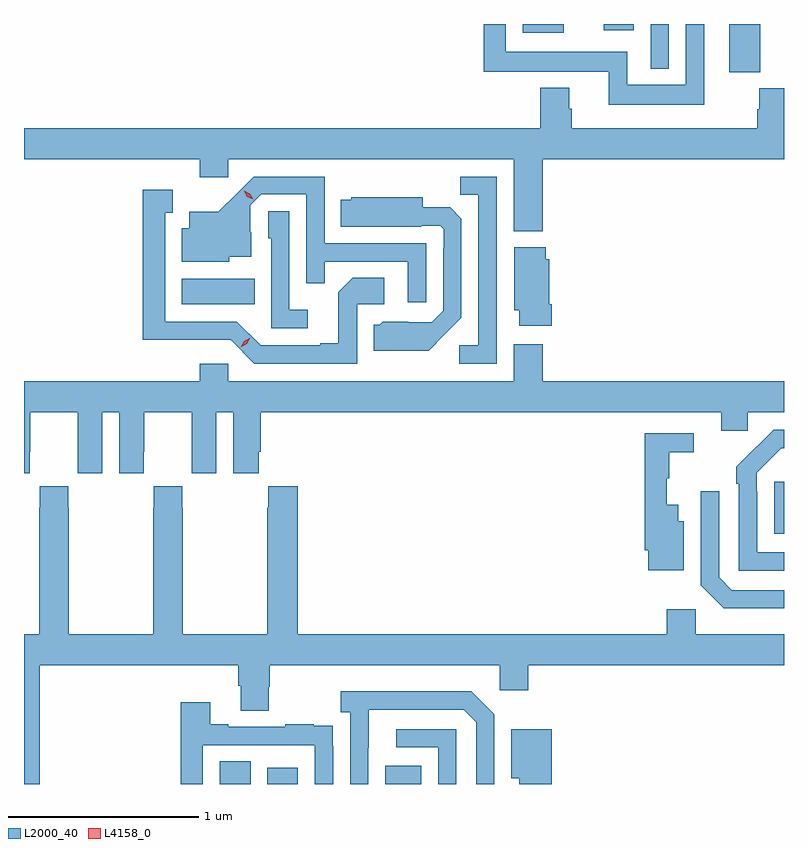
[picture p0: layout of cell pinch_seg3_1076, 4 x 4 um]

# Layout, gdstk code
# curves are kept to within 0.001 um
import gdstk
lib = gdstk.Library(unit=1e-6, precision=1e-09)
def R(c, l, rs):  # rectangles x0, y0, x1, y1
    for r in rs: c.add(gdstk.rectangle(r[:2], r[2:], *l))
def P(c, l, *ps):  # polygons
    for p in ps: c.add(gdstk.Polygon(p, *l))
L2000_40 = (2000, 40)
L4158_0 = (4158, 0)

pinch_seg3_1076 = lib.new_cell('pinch_seg3_1076')
R(pinch_seg3_1076, L2000_40, [(315.392,686.972,315.556,687.092), (315.644,686.972,315.805,687.058), (316.265,686.972,316.453,687.067), (318.311,688.289,318.363,688.564), (315.194,689.498,315.578,689.632), (318.074,690.718,318.238,690.972), (317.661,690.737,317.757,690.972), (316.988,690.926,317.203,690.972), (317.414,690.939,317.572,690.972)])
P(pinch_seg3_1076, L2000_40, [(317.944,690.972),(317.847,690.972),(317.847,690.652),(317.538,690.652),(317.538,690.826),(316.899,690.826),(316.899,690.972),(316.783,690.972),(316.783,690.72),(316.906,690.72),(316.906,690.722),(317.441,690.722),(317.441,690.548),(317.944,690.548)],
  [(317.093,690.26),(318.363,690.26),(318.363,690.633),(318.233,690.633),(318.233,690.524),(318.221,690.524),(318.221,690.424),(317.246,690.424),(317.246,690.525),(317.233,690.525),(317.233,690.637),(317.081,690.637),(317.081,690.424),(314.363,690.424),(314.363,690.26),(315.287,690.26),(315.287,690.165),(315.438,690.165),(315.438,690.26),(316.94,690.26),(316.94,689.882),(317.093,689.882)],
  [(316.479,689.817),(315.945,689.817),(315.945,690.168),(315.572,690.168),(315.385,689.983),(315.233,689.983),(315.233,689.896),(315.194,689.896),(315.194,689.72),(315.444,689.72),(315.444,689.747),(315.559,689.747),(315.559,689.876),(315.555,689.876),(315.555,690.018),(315.612,690.075),(315.849,690.075),(315.849,689.608),(315.947,689.608),(315.947,689.721),(316.383,689.721),(316.383,689.508),(316.479,689.508)],
  [(316.851,690.168),(316.66,690.168),(316.66,690.073),(316.755,690.073),(316.755,689.28),(316.653,689.28),(316.653,689.184),(316.851,689.184)],
  [(316.116,689.496),(316.258,689.496),(316.258,689.636),(316.093,689.636),(316.017,689.56),(316.017,689.293),(315.923,689.293),(315.923,689.28),(315.609,689.28),(315.483,689.406),(315.106,689.406),(315.106,689.979),(315.145,689.979),(315.145,690.1),(314.988,690.1),(314.988,689.309),(315.45,689.31),(315.576,689.184),(316.116,689.184)],
  [(316.573,689.333),(316.665,689.426),(316.665,689.948),(316.606,690.007),(316.462,690.007),(316.462,690.061),(316.086,690.061),(316.086,690.046),(316.03,690.046),(316.03,689.906),(316.454,689.906),(316.454,689.91),(316.554,689.91),(316.572,689.892),(316.572,689.792),(316.569,689.792),(316.569,689.463),(316.509,689.403),(316.252,689.404),(316.236,689.388),(316.205,689.388),(316.205,689.252),(316.493,689.252)],
  [(315.856,689.467),(315.759,689.467),(315.759,689.987),(315.648,689.987),(315.648,689.844),(315.663,689.844),(315.663,689.37),(315.856,689.37)],
  [(317.141,689.497),(317.128,689.497),(317.128,689.733),(317.11,689.733),(317.11,689.797),(316.943,689.797),(316.943,689.466),(316.97,689.466),(316.97,689.385),(317.141,689.385)],
  [(314.394,688.72),(314.395,688.72),(314.395,688.928),(314.645,688.928),(314.645,688.72),(314.646,688.72),(314.646,688.608),(314.776,688.608),(314.776,688.928),(314.864,688.928),(314.864,688.608),(314.994,688.608),(314.994,688.72),(314.995,688.72),(314.995,688.928),(315.245,688.928),(315.245,688.72),(315.246,688.72),(315.246,688.608),(315.376,688.608),(315.376,688.928),(315.464,688.928),(315.464,688.608),(315.598,688.608),(315.598,688.72),(315.608,688.72),(315.608,688.928),(318.032,688.928),(318.032,688.83),(318.171,688.83),(318.171,688.928),(318.363,688.928),(318.363,689.092),(317.093,689.092),(317.093,689.287),(316.94,689.287),(316.94,689.092),(315.438,689.092),(315.438,689.185),(315.287,689.185),(315.287,689.092),(314.363,689.092),(314.363,688.608),(314.394,688.608)],
  [(318.363,688.191),(318.222,688.191),(318.222,688.511),(318.219,688.511),(318.219,688.611),(318.348,688.74),(318.363,688.74),(318.363,688.836),(318.308,688.836),(318.111,688.641),(318.111,688.553),(318.126,688.553),(318.126,688.095),(318.363,688.095)],
  [(317.836,688.354),(317.806,688.354),(317.806,688.441),(317.747,688.441),(317.747,688.581),(317.758,688.581),(317.758,688.717),(317.887,688.717),(317.887,688.818),(317.629,688.818),(317.629,688.201),(317.648,688.201),(317.648,688.097),(317.836,688.097)],
  [(314.447,687.596),(315.491,687.596),(315.491,687.49),(315.503,687.49),(315.503,687.358),(315.651,687.358),(315.651,687.483),(315.656,687.483),(315.656,687.596),(316.866,687.596),(316.866,687.465),(317.018,687.465),(317.018,687.596),(318.363,687.596),(318.363,687.76),(317.898,687.76),(317.898,687.892),(317.747,687.892),(317.747,687.76),(315.803,687.76),(315.803,688.54),(315.649,688.54),(315.649,688.427),(315.643,688.427),(315.643,687.76),(315.198,687.76),(315.198,688.427),(315.195,688.427),(315.195,688.54),(315.045,688.54),(315.045,688.427),(315.043,688.427),(315.043,687.76),(314.598,687.76),(314.598,688.427),(314.595,688.427),(314.595,688.54),(314.445,688.54),(314.445,688.427),(314.443,688.427),(314.443,687.76),(314.363,687.76),(314.363,686.972),(314.447,686.972)],
  [(318.363,687.993),(318.087,687.993),(318.021,688.059),(318.021,688.513),(317.925,688.513),(317.925,688.017),(318.046,687.896),(318.363,687.896)],
  [(316.176,687.163),(316.177,687.363),(316.677,687.363),(316.743,687.297),(316.743,686.972),(316.839,686.972),(316.839,687.339),(316.718,687.46),(316.029,687.46),(316.029,687.35),(316.08,687.35),(316.08,686.972),(316.176,686.972)],
  [(315.303,687.177),(315.894,687.177),(315.894,686.972),(315.99,686.972),(315.99,687.17),(315.989,687.17),(315.989,687.279),(315.887,687.279),(315.887,687.286),(315.739,687.286),(315.739,687.273),(315.439,687.273),(315.439,687.286),(315.343,687.286),(315.343,687.403),(315.187,687.403),(315.187,686.972),(315.303,686.972)],
  [(316.638,687.261),(316.323,687.261),(316.323,687.165),(316.542,687.165),(316.542,686.972),(316.638,686.972)],
  [(317.141,687.259),(316.928,687.259),(316.928,687.002),(316.97,687.002),(316.97,686.972),(317.141,686.972)])
P(pinch_seg3_1076, L4158_0, [(315.504,689.27),(315.504,689.27),(315.522,689.303),(315.554,689.322),(315.554,689.322),(315.554,689.322),(315.536,689.289),(315.504,689.27)],
  [(315.569,690.049),(315.539,690.064),(315.521,690.093),(315.521,690.094),(315.521,690.094),(315.552,690.079),(315.57,690.049),(315.57,690.049)])

lib.write_gds('pinch_seg3_1076.gds')
